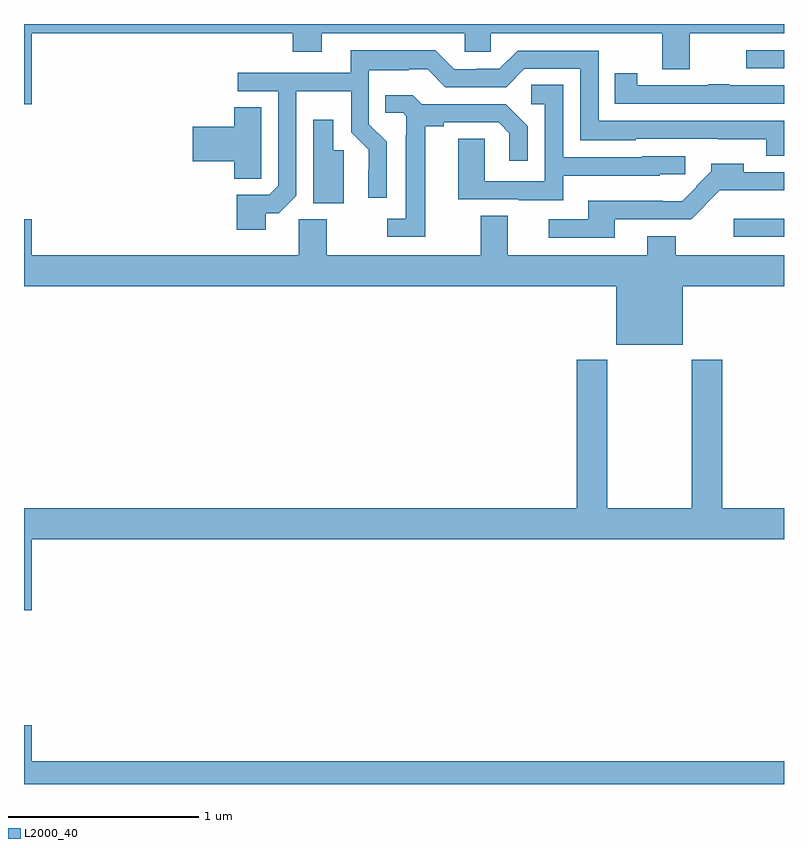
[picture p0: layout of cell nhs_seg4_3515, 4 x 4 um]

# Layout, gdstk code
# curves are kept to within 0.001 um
import gdstk
lib = gdstk.Library(unit=1e-6, precision=1e-09)
def R(c, l, rs):  # rectangles x0, y0, x1, y1
    for r in rs: c.add(gdstk.rectangle(r[:2], r[2:], *l))
def P(c, l, *ps):  # polygons
    for p in ps: c.add(gdstk.Polygon(p, *l))
L2000_40 = (2000, 40)

nhs_seg4_3515 = lib.new_cell('nhs_seg4_3515')
R(nhs_seg4_3515, L2000_40, [(300.735,763.779,301,763.876), (300.801,764.667,301,764.763)])
P(nhs_seg4_3515, L2000_40, [(297.04,764.852),(298.415,764.852),(298.415,764.753),(298.567,764.753),(298.567,764.852),(299.319,764.852),(299.319,764.754),(299.457,764.754),(299.457,764.852),(300.358,764.852),(300.358,764.662),(300.505,764.662),(300.505,764.852),(301,764.852),(301,764.9),(297,764.9),(297,764.478),(297.04,764.478)],
  [(298.273,763.903),(298.341,763.903),(298.434,763.995),(298.434,764.546),(298.722,764.546),(298.722,764.33),(298.814,764.238),(298.814,764.132),(298.812,764.132),(298.812,763.986),(298.908,763.986),(298.908,764.28),(298.815,764.373),(298.815,764.657),(299.024,764.657),(299.024,764.661),(299.124,764.661),(299.217,764.568),(299.538,764.568),(299.634,764.664),(299.928,764.664),(299.928,764.288),(300.219,764.288),(300.219,764.295),(300.906,764.294),(300.906,764.206),(301,764.206),(301,764.391),(300.024,764.391),(300.024,764.76),(299.598,764.76),(299.502,764.664),(299.382,764.664),(299.382,764.661),(299.265,764.661),(299.165,764.761),(298.721,764.761),(298.721,764.643),(298.125,764.643),(298.125,764.547),(298.338,764.547),(298.338,764.049),(298.29,764.001),(298.121,764.001),(298.121,763.818),(298.273,763.818)],
  [(301,764.577),(300.713,764.577),(300.713,764.582),(300.601,764.582),(300.601,764.577),(300.228,764.577),(300.228,764.641),(300.109,764.641),(300.109,764.481),(301,764.481)],
  [(299.839,764.102),(300.345,764.102),(300.345,764.109),(300.48,764.109),(300.48,764.205),(300.255,764.205),(300.255,764.199),(299.838,764.199),(299.838,764.579),(299.67,764.579),(299.67,764.478),(299.742,764.478),(299.742,764.073),(299.424,764.073),(299.424,764.297),(299.285,764.297),(299.285,763.977),(299.603,763.977),(299.603,763.973),(299.839,763.973)],
  [(299.113,764.362),(299.209,764.362),(299.209,764.382),(299.498,764.382),(299.555,764.325),(299.555,764.181),(299.652,764.181),(299.652,764.362),(299.536,764.478),(299.094,764.478),(299.046,764.525),(298.9,764.525),(298.9,764.433),(298.995,764.433),(299.013,764.415),(299.013,764.315),(299.009,764.315),(299.009,763.875),(298.911,763.875),(298.911,763.779),(299.113,763.779)],
  [(298.248,764.194),(298.249,764.194),(298.249,764.462),(298.106,764.462),(298.106,764.36),(297.888,764.36),(297.888,764.177),(298.106,764.177),(298.106,764.086),(298.248,764.086)],
  [(298.684,764.235),(298.627,764.235),(298.627,764.395),(298.523,764.395),(298.523,763.957),(298.684,763.957)],
  [(300.109,763.872),(300.513,763.872),(300.589,763.949),(300.587,763.951),(300.661,764.025),(300.995,764.024),(300.995,764.026),(301,764.026),(301,764.121),(300.787,764.121),(300.787,764.164),(300.616,764.164),(300.616,764.125),(300.537,764.046),(300.54,764.043),(300.464,763.967),(300.362,763.967),(300.362,763.969),(299.969,763.969),(299.969,763.872),(299.763,763.872),(299.763,763.776),(300.109,763.776)],
  [(300.466,763.52),(301,763.52),(301,763.684),(300.429,763.684),(300.429,763.783),(300.281,763.783),(300.281,763.684),(299.545,763.684),(299.545,763.892),(299.405,763.892),(299.405,763.684),(298.593,763.684),(298.593,763.872),(298.446,763.872),(298.446,763.684),(297.04,763.684),(297.04,763.873),(297,763.873),(297,763.52),(300.116,763.52),(300.116,763.211),(300.466,763.211)],
  [(297.04,762.188),(301,762.188),(301,762.352),(300.674,762.352),(300.674,763.132),(300.514,763.132),(300.514,762.352),(300.069,762.352),(300.069,763.132),(299.909,763.132),(299.909,762.352),(297,762.352),(297,761.814),(297.04,761.814)],
  [(301,761.02),(297.04,761.02),(297.04,761.209),(297,761.209),(297,760.9),(301,760.9)])

lib.write_gds('nhs_seg4_3515.gds')
